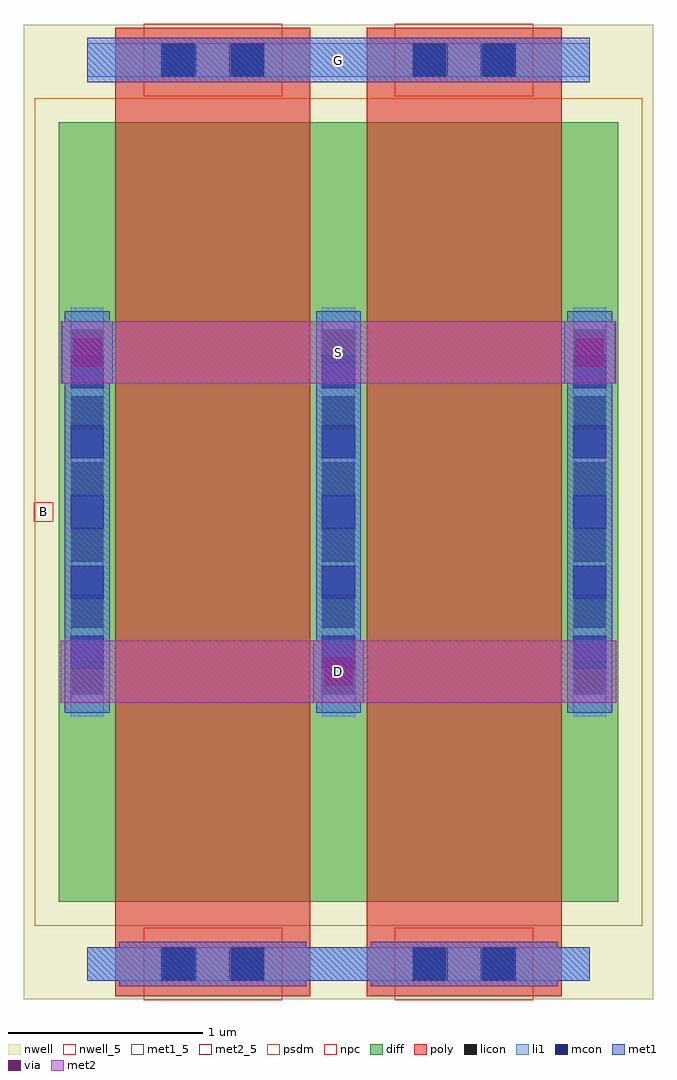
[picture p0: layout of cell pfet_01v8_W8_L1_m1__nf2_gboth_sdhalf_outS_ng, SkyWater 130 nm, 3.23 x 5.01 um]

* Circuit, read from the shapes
.subckt pfet_01v8_W8_L1_m1__nf2_gboth_sdhalf_outS_ng B D G S
XM1 D G S B sky130_fd_pr__pfet_01v8 w=4 l=1 m=2
.ends

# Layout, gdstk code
import gdstk
lib = gdstk.Library(unit=1e-6, precision=1e-09)
def R(c, l, rs):  # rectangles x0, y0, x1, y1
    for r in rs: c.add(gdstk.rectangle(r[:2], r[2:], *l))
def A(c, l, x, y, w, h, nx, ny, dx, dy):  # array of equal rectangles
    R(c, l, [(x+i*dx, y+j*dy, x+i*dx+w, y+j*dy+h) for i in range(nx) for j in range(ny)])
nwell_5 = (64, 5)
nwell = (64, 20)
diff = (65, 20)
poly = (66, 20)
licon = (66, 44)
li1 = (67, 20)
mcon = (67, 44)
met1_5 = (68, 5)
met1 = (68, 20)
via = (68, 44)
met2_5 = (69, 5)
met2 = (69, 20)
psdm = (94, 20)
npc = (95, 20)

sky130_fd_pr__pfet_01v8_ = lib.new_cell('sky130_fd_pr__pfet_01v8_9YRAE8')
R(sky130_fd_pr__pfet_01v8_, nwell, [(-1.615,-2.5,1.615,2.5)])
R(sky130_fd_pr__pfet_01v8_, diff, [(-1.435,-2,1.435,2)])
R(sky130_fd_pr__pfet_01v8_, poly, [(-1.145,-2.485,-0.145,2.485), (0.145,-2.485,1.145,2.485)])
A(sky130_fd_pr__pfet_01v8_, licon, -1.375, -0.935, 0.17, 0.17, 3, 6, 1.29, 0.34)
R(sky130_fd_pr__pfet_01v8_, licon, [(-0.9,-2.405,-0.73,-2.235), (-0.56,-2.405,-0.39,-2.235), (0.39,-2.405,0.56,-2.235), (0.73,-2.405,0.9,-2.235), (-0.9,2.235,-0.73,2.405), (-0.56,2.235,-0.39,2.405), (0.39,2.235,0.56,2.405), (0.73,2.235,0.9,2.405)])
A(sky130_fd_pr__pfet_01v8_, li1, -1.375, -1.05, 0.17, 2.1, 3, 1, 1.29, 0)
R(sky130_fd_pr__pfet_01v8_, li1, [(-1.29,-2.405,1.29,-2.235), (-1.29,2.235,1.29,2.405)])
A(sky130_fd_pr__pfet_01v8_, mcon, -1.375, -0.805, 0.17, 0.17, 3, 5, 1.29, 0.36)
R(sky130_fd_pr__pfet_01v8_, mcon, [(-0.91,-2.405,-0.74,-2.235), (-0.55,-2.405,-0.38,-2.235), (0.38,-2.405,0.55,-2.235), (0.74,-2.405,0.91,-2.235), (-0.91,2.235,-0.74,2.405), (-0.55,2.235,-0.38,2.405), (0.38,2.235,0.55,2.405), (0.74,2.235,0.91,2.405)])
A(sky130_fd_pr__pfet_01v8_, met1, -1.405, -1.03, 0.23, 2.06, 3, 1, 1.29, 0)
R(sky130_fd_pr__pfet_01v8_, met1, [(-1.125,-2.435,-0.165,-2.405), (0.165,-2.435,1.125,-2.405), (-1.29,-2.405,1.29,-2.235), (-1.125,-2.235,-0.165,-2.205), (0.165,-2.235,1.125,-2.205), (-1.125,2.205,-0.165,2.235), (0.165,2.205,1.125,2.235), (-1.29,2.235,1.29,2.405), (-1.125,2.405,-0.165,2.435), (0.165,2.405,1.125,2.435)])
R(sky130_fd_pr__pfet_01v8_, psdm, [(-1.56,-2.125,1.56,2.125)])
R(sky130_fd_pr__pfet_01v8_, npc, [(-1,-2.505,-0.29,-2.135), (0.29,-2.505,1,-2.135), (-1,2.135,-0.29,2.505), (0.29,2.135,1,2.505)])
sky130_fd_pr__pfet_01v8_.add(gdstk.Label('D0', (-1.29,0), layer=67, texttype=5))
sky130_fd_pr__pfet_01v8_.add(gdstk.Label('G', (0.645,2.32), layer=67, texttype=5))
sky130_fd_pr__pfet_01v8_.add(gdstk.Label('G', (-0.645,2.32), layer=67, texttype=5))
sky130_fd_pr__pfet_01v8_.add(gdstk.Label('S1', (0,0), layer=67, texttype=5))

pfet_01v8_w8_l1_m1__nf2_ = lib.new_cell('pfet_01v8_W8_L1_m1__nf2_gboth_sdhalf_outS_ng')
R(pfet_01v8_w8_l1_m1__nf2_, nwell_5, [(0.05,2.45,0.15,2.55)])
R(pfet_01v8_w8_l1_m1__nf2_, nwell, [(0.05,2.45,0.15,2.55)])
R(pfet_01v8_w8_l1_m1__nf2_, met1_5, [(0.325,4.705,2.905,4.935)])
R(pfet_01v8_w8_l1_m1__nf2_, met1, [(1.485,1.52,1.745,1.84), (0.195,3.16,0.455,3.48), (2.775,3.16,3.035,3.48), (0.325,4.705,2.905,4.935)])
R(pfet_01v8_w8_l1_m1__nf2_, via, [(1.54,1.605,1.69,1.755), (0.25,3.245,0.4,3.395), (2.83,3.245,2.98,3.395)])
R(pfet_01v8_w8_l1_m1__nf2_, met2_5, [(0.19,1.52,3.04,1.84), (0.19,3.16,3.04,3.48)])
R(pfet_01v8_w8_l1_m1__nf2_, met2, [(0.19,1.52,3.04,1.84), (0.19,3.16,3.04,3.48)])
pfet_01v8_w8_l1_m1__nf2_.add(gdstk.Reference(sky130_fd_pr__pfet_01v8_, (1.615,2.5)))
pfet_01v8_w8_l1_m1__nf2_.add(gdstk.Label('S', (1.615,3.32), layer=69, texttype=5))
pfet_01v8_w8_l1_m1__nf2_.add(gdstk.Label('D', (1.615,1.68), layer=69, texttype=5))
pfet_01v8_w8_l1_m1__nf2_.add(gdstk.Label('G', (1.615,4.82), layer=68, texttype=5))
pfet_01v8_w8_l1_m1__nf2_.add(gdstk.Label('B', (0.1,2.5), layer=64, texttype=5))

lib.write_gds('pfet_01v8_W8_L1_m1__nf2_gboth_sdhalf_outS_ng.gds')
